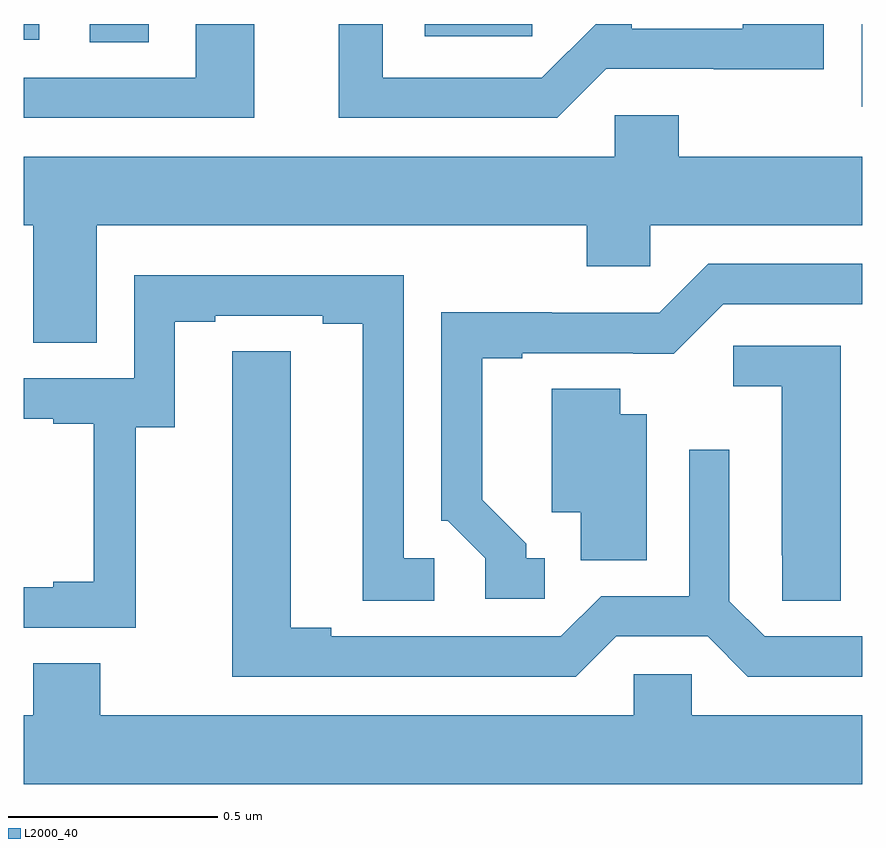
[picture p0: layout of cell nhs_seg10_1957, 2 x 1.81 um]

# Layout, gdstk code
import gdstk
lib = gdstk.Library(unit=1e-6, precision=1e-09)
def R(c, l, rs):  # rectangles x0, y0, x1, y1
    for r in rs: c.add(gdstk.rectangle(r[:2], r[2:], *l))
def P(c, l, *ps):  # polygons
    for p in ps: c.add(gdstk.Polygon(p, *l))
L2000_40 = (2000, 40)

nhs_seg10_1957 = lib.new_cell('nhs_seg10_1957')
R(nhs_seg10_1957, L2000_40, [(136.998,1263.303,137,1263.5), (135.158,1263.457,135.298,1263.5), (135,1263.462,135.037,1263.5), (135.956,1263.471,136.213,1263.5)])
P(nhs_seg10_1957, L2000_40, [(135.55,1263.5),(135.41,1263.5),(135.41,1263.372),(135,1263.372),(135,1263.276),(135.55,1263.276)],
  [(136.389,1263.393),(136.645,1263.393),(136.645,1263.392),(136.908,1263.392),(136.908,1263.5),(136.715,1263.5),(136.715,1263.489),(136.45,1263.489),(136.45,1263.5),(136.364,1263.5),(136.236,1263.372),(135.856,1263.372),(135.856,1263.5),(135.752,1263.5),(135.752,1263.276),(136.272,1263.276)],
  [(135.175,1263.02),(136.343,1263.02),(136.343,1262.922),(136.494,1262.922),(136.494,1263.02),(137,1263.02),(137,1263.184),(136.562,1263.184),(136.562,1263.282),(136.41,1263.282),(136.41,1263.184),(135,1263.184),(135,1263.02),(135.023,1263.02),(135.023,1262.74),(135.175,1262.74)],
  [(136.243,1262.226),(136.198,1262.226),(136.198,1262.261),(136.093,1262.366),(136.093,1262.703),(136.189,1262.703),(136.189,1262.715),(136.454,1262.715),(136.454,1262.714),(136.55,1262.714),(136.668,1262.832),(137,1262.832),(137,1262.928),(136.632,1262.928),(136.515,1262.811),(136.259,1262.811),(136.259,1262.813),(135.996,1262.813),(135.996,1262.316),(136.011,1262.316),(136.101,1262.226),(136.101,1262.13),(136.243,1262.13)],
  [(135.267,1262.539),(135.361,1262.539),(135.361,1262.79),(135.457,1262.79),(135.457,1262.805),(135.713,1262.805),(135.713,1262.785),(135.809,1262.785),(135.809,1262.125),(135.979,1262.125),(135.979,1262.226),(135.906,1262.226),(135.906,1262.901),(135.264,1262.901),(135.264,1262.655),(135,1262.655),(135,1262.559),(135.071,1262.559),(135.071,1262.547),(135.167,1262.547),(135.167,1262.17),(135.071,1262.17),(135.071,1262.157),(135,1262.157),(135,1262.061),(135.267,1262.061)],
  [(136.948,1262.733),(136.692,1262.733),(136.692,1262.636),(136.808,1262.636),(136.808,1262.233),(136.809,1262.233),(136.809,1262.125),(136.948,1262.125)],
  [(136.413,1262.04),(136.631,1262.04),(136.727,1261.944),(137,1261.944),(137,1262.04),(136.767,1262.04),(136.683,1262.124),(136.683,1262.485),(136.587,1262.485),(136.587,1262.136),(136.377,1262.136),(136.281,1262.04),(135.733,1262.04),(135.733,1262.06),(135.637,1262.06),(135.637,1262.72),(135.498,1262.72),(135.498,1262.612),(135.497,1262.612),(135.497,1261.944),(136.317,1261.944)],
  [(136.486,1262.569),(136.423,1262.569),(136.423,1262.63),(136.259,1262.63),(136.259,1262.336),(136.328,1262.336),(136.328,1262.221),(136.486,1262.221)],
  [(137,1261.852),(136.593,1261.852),(136.593,1261.95),(136.455,1261.95),(136.455,1261.852),(135.183,1261.852),(135.183,1261.976),(135.023,1261.976),(135.023,1261.852),(135,1261.852),(135,1261.688),(137,1261.688)])

lib.write_gds('nhs_seg10_1957.gds')
